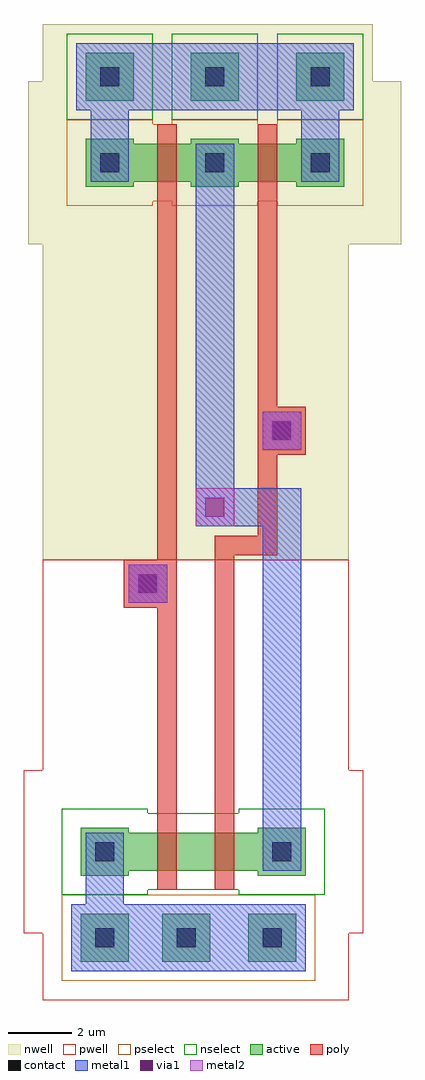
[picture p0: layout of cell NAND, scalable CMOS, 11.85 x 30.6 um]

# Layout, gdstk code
import gdstk
lib = gdstk.Library(unit=1e-6, precision=1e-09)
def R(c, l, rs):  # rectangles x0, y0, x1, y1
    for r in rs: c.add(gdstk.rectangle(r[:2], r[2:], *l))
def A(c, l, x, y, w, h, nx, ny, dx, dy):  # array of equal rectangles
    R(c, l, [(x+i*dx, y+j*dy, x+i*dx+w, y+j*dy+h) for i in range(nx) for j in range(ny)])
contact = (25, 0)
pwell = (41, 0)
nwell = (42, 0)
active = (43, 0)
pselect = (44, 0)
nselect = (45, 0)
poly = (46, 0)
metal1 = (49, 0)
via1 = (50, 0)
metal2 = (51, 0)

nand = lib.new_cell('NAND')
A(nand, contact, -23.4, 12.3, 0.6, 0.6, 3, 2, 3.3, 2.7)
R(nand, contact, [(-23.55,-12,-22.95,-11.4), (-21,-12,-20.4,-11.4), (-18.3,-12,-17.7,-11.4), (-23.55,-9.3,-22.95,-8.7), (-18,-9.3,-17.4,-8.7), (-22.2,-0.9,-21.6,-0.3), (-18,3.9,-17.4,4.5)])
R(nand, pwell, [(-25.2,-13.65,-15.6,0.15), (-24.9,-13.35,-21.6,-10.05), (-22.35,-13.35,-19.05,-10.05), (-19.65,-13.35,-16.35,-10.05), (-25.8,-11.55,-20.7,-6.45), (-20.25,-11.55,-15.15,-6.45), (-24.3,-11.4,-18.3,-6.6), (-22.5,-11.4,-16.5,-6.6), (-25.35,-11.25,-20.175,-6.75), (-22.875,-11.25,-17.925,-6.75), (-20.625,-11.25,-15.6,-6.75)])
A(nand, nwell, -25.65, 10.05, 5.1, 5.1, 3, 1, 3.3, 0)
A(nand, nwell, -24.75, 13.65, 3.3, 3.3, 3, 1, 3.3, 0)
R(nand, nwell, [(-25.2,0.15,-15.6,16.95), (-24.3,10.2,-18.3,15), (-21.15,10.2,-15.15,15), (-25.2,10.35,-20.175,14.85), (-22.425,10.35,-17.55,14.85), (-22.05,10.35,-17.025,14.85), (-19.275,10.35,-14.4,14.85)])
A(nand, active, -23.85, 11.85, 1.5, 1.5, 3, 2, 3.3, 2.7)
R(nand, active, [(-24,-12.45,-22.5,-10.95), (-21.45,-12.45,-19.95,-10.95), (-18.75,-12.45,-17.25,-10.95), (-24,-9.75,-22.5,-8.25), (-18.45,-9.75,-16.95,-8.25), (-22.5,-9.6,-20.1,-8.4), (-20.7,-9.6,-18.3,-8.4), (-23.55,-9.45,-21.975,-8.55), (-21.075,-9.45,-19.725,-8.55), (-18.825,-9.45,-17.4,-8.55), (-22.5,12,-20.1,13.2), (-19.35,12,-16.95,13.2), (-23.4,12.15,-21.975,13.05), (-20.625,12.15,-19.35,13.05), (-20.25,12.15,-18.825,13.05), (-17.475,12.15,-16.2,13.05)])
A(nand, pselect, -24.45, 11.25, 2.7, 2.7, 3, 1, 3.3, 0)
R(nand, pselect, [(-24.6,-13.05,-21.9,-10.35), (-22.05,-13.05,-19.35,-10.35), (-19.35,-13.05,-16.65,-10.35), (-23.1,11.4,-19.5,13.8), (-19.95,11.4,-16.35,13.8), (-24,11.55,-21.375,13.65), (-21.225,11.55,-18.75,13.65), (-20.85,11.55,-18.225,13.65), (-18.075,11.55,-15.6,13.65)])
A(nand, nselect, -24.45, 13.95, 2.7, 2.7, 3, 1, 3.3, 0)
R(nand, nselect, [(-24.6,-10.35,-21.9,-7.65), (-19.05,-10.35,-16.35,-7.65), (-23.1,-10.2,-19.5,-7.8), (-21.3,-10.2,-17.7,-7.8), (-24.15,-10.05,-21.375,-7.95), (-21.675,-10.05,-19.125,-7.95), (-19.425,-10.05,-16.8,-7.95)])
R(nand, poly, [(-21.6,-10.2,-21,-7.8), (-19.8,-10.2,-19.2,-7.8), (-21.6,-8.1,-21,-0.3), (-19.8,-8.1,-19.2,0.9), (-22.65,-1.35,-21.15,0.15), (-22.2,-0.9,-21,-0.3), (-21.6,-0.9,-21,11.7), (-19.8,0.3,-17.85,0.9), (-18.45,0.3,-17.85,4.5), (-18.45,3.45,-16.95,4.95), (-18.45,3.9,-17.85,11.7), (-18.45,3.9,-17.4,4.5), (-21.6,11.4,-21,13.8), (-18.45,11.4,-17.85,13.8)])
A(nand, metal1, -23.7, 12, 1.2, 1.2, 3, 2, 3.3, 2.7)
R(nand, metal1, [(-24.3,-12.75,-19.65,-10.65), (-21.75,-12.75,-16.95,-10.65), (-23.85,-12.3,-22.65,-11.1), (-23.85,-12.3,-22.65,-8.4), (-21.3,-12.3,-20.1,-11.1), (-18.6,-12.3,-17.4,-11.1), (-23.85,-9.6,-22.65,-8.4), (-18.3,-9.6,-17.1,-8.4), (-18.3,-9.6,-17.1,2.4), (-22.5,-1.2,-21.3,0), (-22.5,-1.2,-21.3,0), (-22.35,-1.05,-21.45,-0.15), (-20.4,1.2,-19.2,2.4), (-20.4,1.2,-19.2,13.2), (-20.4,1.2,-17.1,2.4), (-18.3,3.6,-17.1,4.8), (-18.3,3.6,-17.1,4.8), (-18.15,3.75,-17.25,4.65), (-23.7,12,-22.5,15.9), (-17.1,12,-15.9,15.9), (-24.15,14.25,-18.75,16.35), (-20.85,14.25,-15.45,16.35), (-23.7,14.7,-22.35,15.9), (-17.25,14.7,-15.9,15.9)])
R(nand, via1, [(-22.2,-0.9,-21.6,-0.3), (-20.1,1.5,-19.5,2.1), (-18,3.9,-17.4,4.5)])
R(nand, metal2, [(-22.5,-1.2,-21.3,0), (-20.4,1.2,-19.2,2.4), (-18.3,3.6,-17.1,4.8)])

lib.write_gds('NAND.gds')
